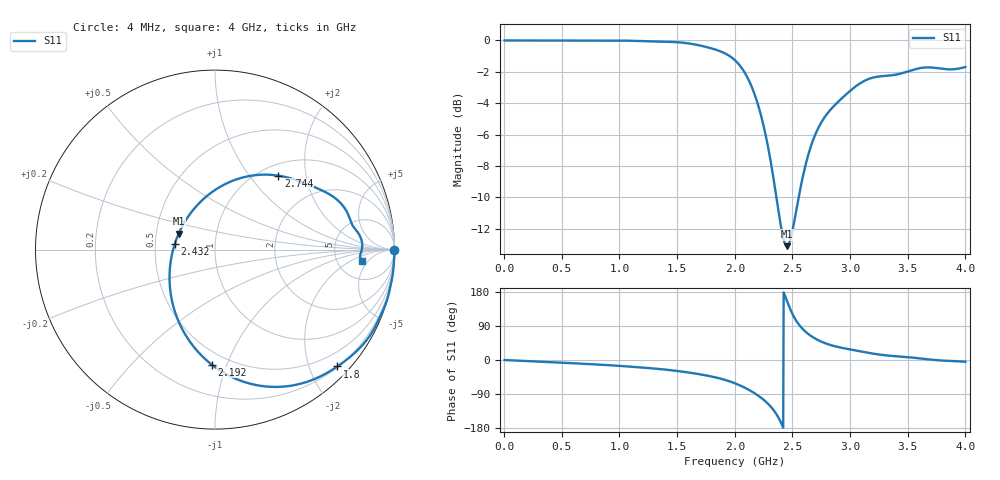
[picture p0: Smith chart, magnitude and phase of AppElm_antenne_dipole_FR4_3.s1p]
! TOUCHSTONE file generated by CST MICROWAVE STUDIO
! Date and time: Thu May 12 18:27:54 2022
! Project name: AppElm_antenne_dipole_FR4.cst
! Parameters = {L=38.8; e=0.035; f=2.45e+09; h=1.6; i=0.8; l1=4; lambda=122.449; ls=25.5; wl=1.7; ws=80}
! Header version: 2018
! Port assignment regex: !\s*Touchstone port\s*([0-9]+)\s*=\s*(CST MWS port|CST DS port)\s*([0-9]+|Zmin|Zmax)\s*\(\"(.*)\"\)(\s*mode\s*([0-9]+))?.*
! Touchstone port assignment:
! Touchstone port 1 = CST MWS port 1 ("")
# GHz S MA R 50
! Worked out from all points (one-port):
!   1000 points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, 4 MHz to 4 GHz, reference 50 ohm
!   lowest |S11| = -13.1 dB at 2.452 GHz (marker M1), VSWR 1.57, Z = 32.7 + j6.05 ohm
!   |S11| at or under -10 dB: 2.361 GHz to 2.554 GHz (192.9 MHz wide, 7.85 % of centre)
!   S11 on the Smith chart (normalised r, x): 4 MHz: open; 1.8 GHz: 0.21, -2.48; 2.192 GHz: 0.41, -0.88; 2.432 GHz: 0.63, +0.04; 2.744 GHz: 1.20, +1.40; 4 GHz: 8.79, -3.59
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0.004  0.9999 -0.1
0.504  1 -7.1
1.004  0.9989 -15.6
1.504  0.9871 -29.0
1.656  0.9707 -35.7
1.8  0.943 -43.6
1.908  0.9123 -51.8
2.004  0.8631 -61.8
2.104  0.7692 -75.7
2.192  0.6405 -91.7
2.26  0.5147 -107.5
2.32  0.3945 -125.9
2.376  0.2909 -150.5
2.432  0.2266 172.3
2.452  0.221 156.6
2.504  0.2516 119.2
2.56  0.3248 91.9
2.616  0.404 74.0
2.676  0.478 60.5
2.744  0.543 49.3
2.848  0.6117 38.0
3.004  0.6925 27.7
3.196  0.761 17.0
3.324  0.7721 11.8
3.504  0.7973 7.4
3.64  0.8196 3.0
3.764  0.8154 -0.7
4  0.8226 -4.6
